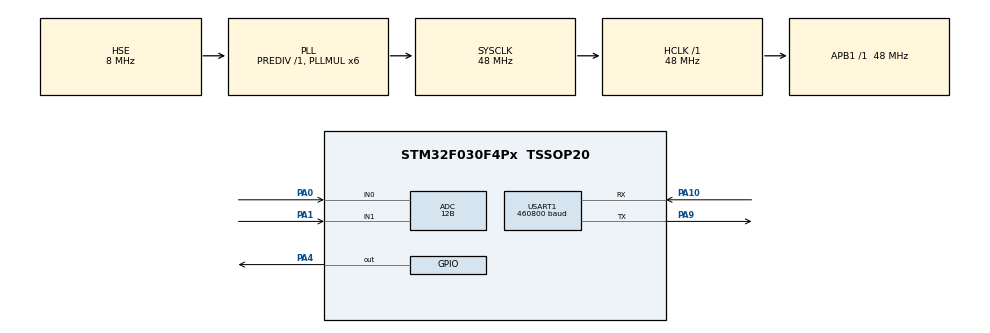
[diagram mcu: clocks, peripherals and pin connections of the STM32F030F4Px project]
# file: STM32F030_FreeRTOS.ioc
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ADC.ClockPrescaler=ADC_CLOCK_SYNC_PCLK_DIV4
ADC.ContinuousConvMode=ENABLE
ADC.DMAContinuousRequests=ENABLE
ADC.DataAlign=ADC_DATAALIGN_RIGHT
ADC.DiscontinuousConvMode=DISABLE
ADC.EOCSelection=ADC_EOC_SINGLE_CONV
ADC.EnableAnalogWatchDog=false
ADC.ExternalTrigConvEdge=ADC_EXTERNALTRIGCONVEDGE_NONE
ADC.LowPowerAutoPowerOff=DISABLE
ADC.LowPowerAutoWait=DISABLE
ADC.Overrun=ADC_OVR_DATA_OVERWRITTEN
ADC.Resolution=ADC_RESOLUTION_12B
ADC.SamplingTime=ADC_SAMPLETIME_239CYCLES_5
ADC.ScanConvMode=ADC_SCAN_DIRECTION_FORWARD
Dma.ADC.0.Direction=DMA_PERIPH_TO_MEMORY
Dma.ADC.0.Instance=DMA1_Channel1
Dma.ADC.0.MemDataAlignment=DMA_MDATAALIGN_HALFWORD
Dma.ADC.0.MemInc=DMA_MINC_ENABLE
Dma.ADC.0.Mode=DMA_CIRCULAR
Dma.ADC.0.PeriphDataAlignment=DMA_PDATAALIGN_HALFWORD
Dma.ADC.0.PeriphInc=DMA_PINC_DISABLE
Dma.ADC.0.Priority=DMA_PRIORITY_LOW
Dma.Request0=ADC
FREERTOS.HEAP_NUMBER=4
FREERTOS.INCLUDE_uxTaskGetStackHighWaterMark=1
FREERTOS.INCLUDE_uxTaskPriorityGet=0
FREERTOS.INCLUDE_vTaskDelete=0
FREERTOS.INCLUDE_vTaskPrioritySet=0
FREERTOS.Tasks01=defaultTask,-3,96,StartDefaultTask,Default;myTask_LED,0,96,StartTask_LED,Default;myTask_UART,2,96,StartTask_UART,Default
FREERTOS.configCHECK_FOR_STACK_OVERFLOW=2
FREERTOS.configLIBRARY_LOWEST_INTERRUPT_PRIORITY=3
FREERTOS.configLIBRARY_MAX_SYSCALL_INTERRUPT_PRIORITY=1
FREERTOS.configTICK_RATE_HZ=100
FREERTOS.configUSE_IDLE_HOOK=1
FREERTOS.configUSE_MUTEXES=0
FREERTOS.configUSE_TIMERS=0
FREERTOS.configUSE_TRACE_FACILITY=0
Mcu.Family=STM32F0
Mcu.Name=STM32F030F4Px
Mcu.Package=TSSOP20
NVIC.DMA1_Channel1_IRQn=true\:1\:0\:true\:false\:true\:true
NVIC.TIM14_IRQn=true\:0\:0\:false\:false\:true\:false
NVIC.TimeBase=TIM14_IRQn
NVIC.TimeBaseIP=TIM14
NVIC.USART1_IRQn=true\:1\:0\:true\:false\:true\:true
PA0.Mode=IN0
PA0.Signal=ADC_IN0
PA1.Mode=IN1
PA1.Signal=ADC_IN1
PA10.Mode=Asynchronous
PA10.Signal=USART1_RX
PA4.GPIO_Speed=GPIO_SPEED_FREQ_HIGH
PA4.PinState=GPIO_PIN_RESET
PA4.Signal=GPIO_Output
PA9.Mode=Asynchronous
PA9.Signal=USART1_TX
PF0-OSC_IN.Mode=HSE-External-Oscillator
PF0-OSC_IN.Signal=RCC_OSC_IN
PF1-OSC_OUT.Mode=HSE-External-Oscillator
PF1-OSC_OUT.Signal=RCC_OSC_OUT
ProjectManager.HeapSize=0x200
ProjectManager.StackSize=0x400
ProjectManager.TargetToolchain=MDK-ARM V5
RCC.AHBFreq_Value=48000000
RCC.APB1Freq_Value=48000000
RCC.APB1TimFreq_Value=48000000
RCC.HCLKFreq_Value=48000000
RCC.HSIState=RCC_HSI_ON
RCC.PLLMUL=RCC_PLL_MUL6
RCC.PLLSourceVirtual=RCC_PLLSOURCE_HSE
RCC.SYSCLKFreq_VALUE=48000000
RCC.SYSCLKSource=RCC_SYSCLKSOURCE_PLLCLK
USART1.BaudRate=460800
VP_ADC_TempSens_Input.Mode=IN-TempSens
VP_FREERTOS_VS_ENABLE.Mode=Enabled
VP_SYS_VS_tim14.Mode=TIM14
board=STM32F030_FreeRTOS

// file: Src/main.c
/**
  ******************************************************************************
  * File Name          : main.c
  * Description        : Main program body
  ******************************************************************************
  *
  * COPYRIGHT(c) 2016 STMicroelectronics
  *
  * Redistribution and use in source and binary forms, with or without modification,
  * are permitted provided that the following conditions are met:
  *   1. Redistributions of source code must retain the above copyright notice,
  *      this list of conditions and the following disclaimer.
  *   2. Redistributions in binary form must reproduce the above copyright notice,
  *      this list of conditions and the following disclaimer in the documentation
  *      and/or other materials provided with the distribution.
  *   3. Neither the name of STMicroelectronics nor the names of its contributors
  *      may be used to endorse or promote products derived from this software
  *      without specific prior written permission.
  *
  * THIS SOFTWARE IS PROVIDED BY THE COPYRIGHT HOLDERS AND CONTRIBUTORS "AS IS"
  * AND ANY EXPRESS OR IMPLIED WARRANTIES, INCLUDING, BUT NOT LIMITED TO, THE
  * IMPLIED WARRANTIES OF MERCHANTABILITY AND FITNESS FOR A PARTICULAR PURPOSE ARE
  * DISCLAIMED. IN NO EVENT SHALL THE COPYRIGHT HOLDER OR CONTRIBUTORS BE LIABLE
  * FOR ANY DIRECT, INDIRECT, INCIDENTAL, SPECIAL, EXEMPLARY, OR CONSEQUENTIAL
  * DAMAGES (INCLUDING, BUT NOT LIMITED TO, PROCUREMENT OF SUBSTITUTE GOODS OR
  * SERVICES; LOSS OF USE, DATA, OR PROFITS; OR BUSINESS INTERRUPTION) HOWEVER
  * CAUSED AND ON ANY THEORY OF LIABILITY, WHETHER IN CONTRACT, STRICT LIABILITY,
  * OR TORT (INCLUDING NEGLIGENCE OR OTHERWISE) ARISING IN ANY WAY OUT OF THE USE
  * OF THIS SOFTWARE, EVEN IF ADVISED OF THE POSSIBILITY OF SUCH DAMAGE.
  *
  ******************************************************************************
  */
#include "stm32f0xx_hal.h"
#include "cmsis_os.h"
#include "adc.h"
#include "dma.h"
#include "usart.h"
#include "gpio.h"

/* USER CODE BEGIN PV */
/* Private variables ---------------------------------------------------------*/
volatile uint16_t ADC_Value[3];

/* USER CODE END PV */

void SystemClock_Config(void);
void Error_Handler(void);
void MX_FREERTOS_Init(void);

/* USER CODE BEGIN PFP */
/* Private function prototypes -----------------------------------------------*/

/* USER CODE END PFP */

int main(void)
{

  /* MCU Configuration----------------------------------------------------------*/

  /* Reset of all peripherals, Initializes the Flash interface and the Systick. */
  HAL_Init();

  /* Configure the system clock */
  SystemClock_Config();

  /* Initialize all configured peripherals */
  MX_GPIO_Init();
  MX_DMA_Init();
  MX_USART1_UART_Init();
  MX_ADC_Init();

  /* USER CODE BEGIN 2 */
  SystemCoreClockUpdate();
  printf("SystemCoreClock = %d\r\n", SystemCoreClock);

  HAL_NVIC_DisableIRQ(DMA1_Channel1_IRQn);
  HAL_ADC_Start_DMA(&hadc, (uint32_t*)ADC_Value, 3);

  /* USER CODE END 2 */

  /* Call init function for freertos objects (in freertos.c) */
  MX_FREERTOS_Init();

  /* Start scheduler */
  osKernelStart();

  /* We should never get here as control is now taken by the scheduler */

  /* Infinite loop */
  while (1)
  {

  }

}

/** System Clock Configuration
*/
void SystemClock_Config(void)
{

  RCC_OscInitTypeDef RCC_OscInitStruct;
  RCC_ClkInitTypeDef RCC_ClkInitStruct;
  RCC_PeriphCLKInitTypeDef PeriphClkInit;

  RCC_OscInitStruct.OscillatorType = RCC_OSCILLATORTYPE_HSE;
  RCC_OscInitStruct.HSEState = RCC_HSE_ON;
  RCC_OscInitStruct.PLL.PLLState = RCC_PLL_ON;
  RCC_OscInitStruct.PLL.PLLSource = RCC_PLLSOURCE_HSE;
  RCC_OscInitStruct.PLL.PLLMUL = RCC_PLL_MUL6;
  RCC_OscInitStruct.PLL.PREDIV = RCC_PREDIV_DIV1;
  if (HAL_RCC_OscConfig(&RCC_OscInitStruct) != HAL_OK)
  {
    Error_Handler();
  }

  RCC_ClkInitStruct.ClockType = RCC_CLOCKTYPE_HCLK|RCC_CLOCKTYPE_SYSCLK
                              |RCC_CLOCKTYPE_PCLK1;
  RCC_ClkInitStruct.SYSCLKSource = RCC_SYSCLKSOURCE_PLLCLK;
  RCC_ClkInitStruct.AHBCLKDivider = RCC_SYSCLK_DIV1;
  RCC_ClkInitStruct.APB1CLKDivider = RCC_HCLK_DIV1;
  if (HAL_RCC_ClockConfig(&RCC_ClkInitStruct, FLASH_LATENCY_1) != HAL_OK)
  {
    Error_Handler();
  }

  PeriphClkInit.PeriphClockSelection = RCC_PERIPHCLK_USART1;
  PeriphClkInit.Usart1ClockSelection = RCC_USART1CLKSOURCE_PCLK1;
  if (HAL_RCCEx_PeriphCLKConfig(&PeriphClkInit) != HAL_OK)
  {
    Error_Handler();
  }

  HAL_SYSTICK_Config(HAL_RCC_GetHCLKFreq()/1000);

  HAL_SYSTICK_CLKSourceConfig(SYSTICK_CLKSOURCE_HCLK);

  /* SysTick_IRQn interrupt configuration */
  HAL_NVIC_SetPriority(SysTick_IRQn, 3, 0);
}

void HAL_TIM_PeriodElapsedCallback(TIM_HandleTypeDef *htim)
{
  if (htim->Instance == TIM14) {
    HAL_IncTick();
  }
}

void Error_Handler(void)
{
  while(1)
  {
  }
}

/************************ (C) COPYRIGHT STMicroelectronics *****END OF FILE****/

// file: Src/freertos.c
/**
  ******************************************************************************
  * File Name          : freertos.c
  * Description        : Code for freertos applications
  ******************************************************************************
  *
  * COPYRIGHT(c) 2016 STMicroelectronics
  *
  * Redistribution and use in source and binary forms, with or without modification,
  * are permitted provided that the following conditions are met:
  *   1. Redistributions of source code must retain the above copyright notice,
  *      this list of conditions and the following disclaimer.
  *   2. Redistributions in binary form must reproduce the above copyright notice,
  *      this list of conditions and the following disclaimer in the documentation
  *      and/or other materials provided with the distribution.
  *   3. Neither the name of STMicroelectronics nor the names of its contributors
  *      may be used to endorse or promote products derived from this software
  *      without specific prior written permission.
  *
  * THIS SOFTWARE IS PROVIDED BY THE COPYRIGHT HOLDERS AND CONTRIBUTORS "AS IS"
  * AND ANY EXPRESS OR IMPLIED WARRANTIES, INCLUDING, BUT NOT LIMITED TO, THE
  * IMPLIED WARRANTIES OF MERCHANTABILITY AND FITNESS FOR A PARTICULAR PURPOSE ARE
  * DISCLAIMED. IN NO EVENT SHALL THE COPYRIGHT HOLDER OR CONTRIBUTORS BE LIABLE
  * FOR ANY DIRECT, INDIRECT, INCIDENTAL, SPECIAL, EXEMPLARY, OR CONSEQUENTIAL
  * DAMAGES (INCLUDING, BUT NOT LIMITED TO, PROCUREMENT OF SUBSTITUTE GOODS OR
  * SERVICES; LOSS OF USE, DATA, OR PROFITS; OR BUSINESS INTERRUPTION) HOWEVER
  * CAUSED AND ON ANY THEORY OF LIABILITY, WHETHER IN CONTRACT, STRICT LIABILITY,
  * OR TORT (INCLUDING NEGLIGENCE OR OTHERWISE) ARISING IN ANY WAY OUT OF THE USE
  * OF THIS SOFTWARE, EVEN IF ADVISED OF THE POSSIBILITY OF SUCH DAMAGE.
  *
  ******************************************************************************
  */

#include "FreeRTOS.h"
#include "task.h"
#include "cmsis_os.h"

/* USER CODE BEGIN Includes */
#include "stm32f0xx_hal.h"
#include <stdio.h>
#include "adc.h"

/* USER CODE END Includes */

osThreadId defaultTaskHandle;
osThreadId myTask_LEDHandle;
osThreadId myTask_UARTHandle;

/* USER CODE BEGIN Variables */
extern uint16_t ADC_Value[];

/* USER CODE END Variables */

void StartDefaultTask(void const * argument);
void StartTask_LED(void const * argument);
void StartTask_UART(void const * argument);

void MX_FREERTOS_Init(void); /* (MISRA C 2004 rule 8.1) */

/* Hook prototypes */
void vApplicationIdleHook(void);
void vApplicationStackOverflowHook(xTaskHandle xTask, signed char *pcTaskName);

/* USER CODE BEGIN 2 */
void vApplicationIdleHook( void )
{
   /* vApplicationIdleHook() will only be called if configUSE_IDLE_HOOK is set
   to 1 in FreeRTOSConfig.h. It will be called on each iteration of the idle
   task. It is essential that code added to this hook function never attempts
   to block in any way (for example, call xQueueReceive() with a block time
   specified, or call vTaskDelay()). If the application makes use of the
   vTaskDelete() API function (as this demo application does) then it is also
   important that vApplicationIdleHook() is permitted to return to its calling
   function, because it is the responsibility of the idle task to clean up
   memory allocated by the kernel to any task that has since been deleted. */

   HAL_GPIO_TogglePin(GPIOA, GPIO_PIN_4);
}
/* USER CODE END 2 */

/* USER CODE BEGIN 4 */
void vApplicationStackOverflowHook(xTaskHandle xTask, signed char *pcTaskName)
{
   /* Run time stack overflow checking is performed if
   configCHECK_FOR_STACK_OVERFLOW is defined to 1 or 2. This hook function is
   called if a stack overflow is detected. */

   printf("Task %s StackOverflow!!!\r\n", pcTaskName);
}
/* USER CODE END 4 */

/* Init FreeRTOS */

void MX_FREERTOS_Init(void) {
  /* USER CODE BEGIN Init */
  printf("MX_FREERTOS_Init...\r\n");
  /* USER CODE END Init */

  /* Create the thread(s) */
  /* definition and creation of defaultTask */
  osThreadDef(defaultTask, StartDefaultTask, osPriorityIdle, 0, 96);
  defaultTaskHandle = osThreadCreate(osThread(defaultTask), NULL);

  /* definition and creation of myTask_LED */
  osThreadDef(myTask_LED, StartTask_LED, osPriorityNormal, 0, 96);
  myTask_LEDHandle = osThreadCreate(osThread(myTask_LED), NULL);

  /* definition and creation of myTask_UART */
  osThreadDef(myTask_UART, StartTask_UART, osPriorityHigh, 0, 96);
  myTask_UARTHandle = osThreadCreate(osThread(myTask_UART), NULL);

}

/* StartDefaultTask function */
void StartDefaultTask(void const * argument)
{

  /* USER CODE BEGIN StartDefaultTask */
    UBaseType_t FreeStack;
    float temperature;
    uint32_t PP=0;

    //测试优先级分配是否和预期一致
    PP = HAL_NVIC_GetPriority(SysTick_IRQn);
    printf("SysTick_IRQn    PP=%d\r\n", PP);
    PP = HAL_NVIC_GetPriority(PendSV_IRQn);
    printf("PendSV_IRQn     PP=%d\r\n", PP);
    PP = HAL_NVIC_GetPriority(DMA1_Channel1_IRQn);
    printf("DMA1_Channel1_IRQn  PP=%d\r\n", PP);

  /* Infinite loop */
  for(;;)
  {
    FreeStack = uxTaskGetStackHighWaterMark(NULL);
    printf("TASK_%s FREE STACK:%ld\r\n", "Default", FreeStack);

    printf("ADC_Value[0] = %d\r\n", ADC_Value[0]);
    printf("ADC_Value[1] = %d\r\n", ADC_Value[1]);
    printf("ADC_Value[2] = %d\r\n", ADC_Value[2]);

    temperature = (float)ADC_Value[2]*(3.3f/4095);
    temperature=(1.43f - temperature)/0.0043f + 25;
    printf("CPU Temperature = %f\r\n", temperature);
    printf("C1:%f\r\n", temperature);

    osDelay(1000);
  }
  /* USER CODE END StartDefaultTask */
}

/* StartTask_LED function */
void StartTask_LED(void const * argument)
{
  /* USER CODE BEGIN StartTask_LED */
  UBaseType_t FreeStack;
  //uint32_t a[38]={0};
  /* Infinite loop */
  for(;;)
  {
    FreeStack = uxTaskGetStackHighWaterMark(NULL);
    printf("TASK_%s FREE STACK:%ld\r\n", "LED", FreeStack);
    //HAL_GPIO_TogglePin(GPIOA, GPIO_PIN_4);
    osDelay(1000);
  }
  /* USER CODE END StartTask_LED */
}

/* StartTask_UART function */
void StartTask_UART(void const * argument)
{
  /* USER CODE BEGIN StartTask_UART */
  UBaseType_t FreeStack;
  /* Infinite loop */
  for(;;)
  {
    FreeStack = uxTaskGetStackHighWaterMark(NULL);
    printf("TASK_%s FREE STACK:%ld\r\n", "UART", FreeStack);
    osDelay(1000);
  }
  /* USER CODE END StartTask_UART */
}

/************************ (C) COPYRIGHT STMicroelectronics *****END OF FILE****/
